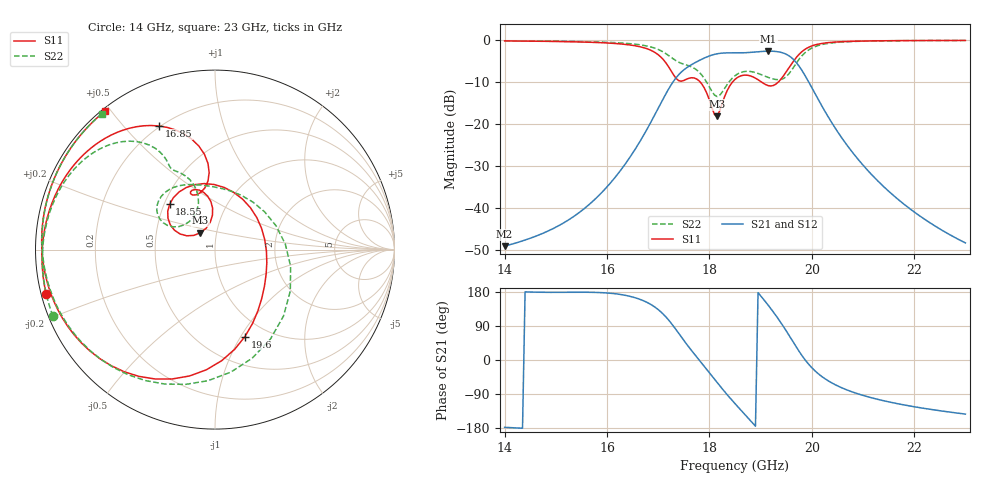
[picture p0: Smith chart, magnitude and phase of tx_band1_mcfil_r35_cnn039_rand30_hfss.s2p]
! Touchstone file exported from HFSS 3D Layout Design 2026.1.0
!  File:  D:/Work/SIM/ADS_AUTO_SIM/projects/RFSOC_RF/TX_Fillter.aedt
!  Generated:  03:07:58 AM Aug 31, 2026
!  Design:  TX_BAND1_MCFIL_R35_CNN039
!  Project:  TX_Fillter
# GHz S MA R 50.000000
! Terminal data exported
! Port[1] = Port1
! Port[2] = Port2
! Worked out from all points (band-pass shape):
!   181 points, 14 GHz to 23 GHz, reference 50 ohm
!   highest |S21| = -2.68 dB at 19.15 GHz (marker M1); lowest = -49.1 dB at 14 GHz (marker M2)
!   |S21| within 3 dB of the highest: 17.68 GHz to 19.72 GHz (2.035 GHz wide, 10.9 % of centre)
!   lowest |S11| = -18.1 dB at 18.15 GHz (marker M3), VSWR 1.28, Z = 41.8 + j7.95 ohm
!   |S11| at or under -10 dB: 17.82 GHz to 18.45 GHz (635.9 MHz wide, 3.51 % of centre); 19.01 GHz to 19.35 GHz (335.3 MHz wide, 1.75 % of centre)
!   |S22| runs from -13.5 to -0.1 dB; largest |S21 - S12| = 1.4e-14
!   S11 on the Smith chart (normalised r, x): 14 GHz: 0.01, -0.13; 16.85 GHz: 0.20, +0.63; 18.55 GHz: 0.53, +0.31; 19.6 GHz: 0.79, -1.04; 23 GHz: 0.01, +0.48
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14  0.9728 -165.2  0.003498 -177.6  0.003498 -177.6  0.9762 -157.7
15.5  0.9445 164.1  0.009211 178.9  0.009211 178.9  0.9544 174.6
16.25  0.8975 142.1  0.02718 173.2  0.02718 173.2  0.9209 156.1
16.85  0.7556 114.3  0.1029 147.0  0.1029 147.0  0.8269 134.9
17  0.6661 104.9  0.1534 133.0  0.1534 133.0  0.7697 128.3
17.25  0.4304 94.3  0.2899 97.8  0.2899 97.8  0.6222 119.4
17.5  0.3287 112.3  0.4397 51.9  0.4397 51.9  0.5133 118.4
17.85  0.3001 97.8  0.5886 -8.4  0.5886 -8.4  0.3827 108.2
18.15  0.1237 130.8  0.6834 -59.1  0.6834 -59.1  0.2117 131.3
18.3  0.2134 155.9  0.6998 -84.0  0.6998 -84.0  0.2661 151.5
18.5  0.3389 141.0  0.7007 -115.1  0.7007 -115.1  0.3746 148.6
18.55  0.3575 135.1  0.7004 -122.6  0.7004 -122.6  0.393 145.6
18.9  0.3502 81.7  0.7182 -174.6  0.7182 -174.6  0.4082 119.4
19.15  0.2853 24.7  0.7345 144.4  0.7345 144.4  0.3573 96.7
19.4  0.3426 -36.5  0.7102 97.7  0.7102 97.7  0.3387 51.5
19.6  0.5128 -71.1  0.6171 55.4  0.6171 55.4  0.4315 -12.5
19.8  0.7183 -101.4  0.4402 13.2  0.4402 13.2  0.6395 -71.1
20  0.8479 -126.6  0.27 -20.3  0.27 -20.3  0.7999 -110.6
20.25  0.9176 -149.0  0.1434 -48.8  0.1434 -48.8  0.8947 -141.0
20.5  0.9465 -164.7  0.08134 -68.1  0.08134 -68.1  0.9353 -160.2
21.5  0.9782 159.1  0.0158 -110.4  0.0158 -110.4  0.9772 160.2
23  0.9851 128.6  0.003824 -142.7  0.003824 -142.7  0.9851 129.7
